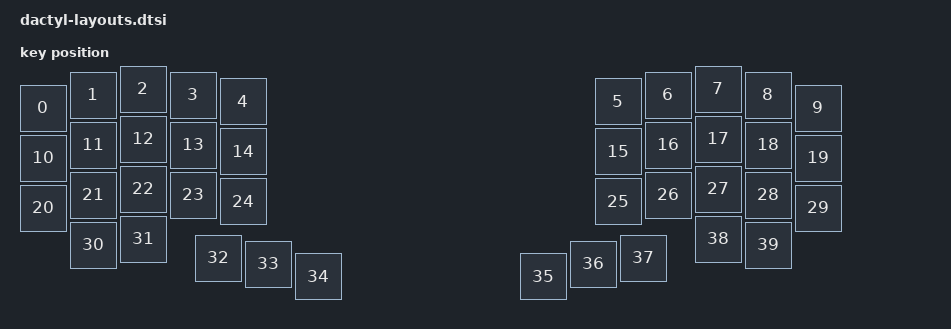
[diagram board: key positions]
#include <physical_layouts.dtsi>

/ {
    physical_layout: physical_layout_0 {
        compatible = "zmk,physical-layout";
        display-name = "dactyl";

        // kscan = <&kscan0>;
        // transform = <&matrix_transform0>;

        studio-config {
        compatible = "zmk,studio-config";
        };

        keys  //                     w   h    x    y     rot    rx    ry
            = <&key_physical_attrs 100 100    0   38       0     0     0>
            , <&key_physical_attrs 100 100  100   12       0     0     0>
            , <&key_physical_attrs 100 100  200    0       0     0     0>
            , <&key_physical_attrs 100 100  300   12       0     0     0>
            , <&key_physical_attrs 100 100  400   25       0     0     0>
            , <&key_physical_attrs 100 100 1150   25       0     0     0>
            , <&key_physical_attrs 100 100 1250   12       0     0     0>
            , <&key_physical_attrs 100 100 1350    0       0     0     0>
            , <&key_physical_attrs 100 100 1450   12       0     0     0>
            , <&key_physical_attrs 100 100 1550   38       0     0     0>
            , <&key_physical_attrs 100 100    0  138       0     0     0>
            , <&key_physical_attrs 100 100  100  112       0     0     0>
            , <&key_physical_attrs 100 100  200  100       0     0     0>
            , <&key_physical_attrs 100 100  300  112       0     0     0>
            , <&key_physical_attrs 100 100  400  125       0     0     0>
            , <&key_physical_attrs 100 100 1150  125       0     0     0>
            , <&key_physical_attrs 100 100 1250  112       0     0     0>
            , <&key_physical_attrs 100 100 1350  100       0     0     0>
            , <&key_physical_attrs 100 100 1450  112       0     0     0>
            , <&key_physical_attrs 100 100 1550  138       0     0     0>
            , <&key_physical_attrs 100 100    0  238       0     0     0>
            , <&key_physical_attrs 100 100  100  212       0     0     0>
            , <&key_physical_attrs 100 100  200  200       0     0     0>
            , <&key_physical_attrs 100 100  300  212       0     0     0>
            , <&key_physical_attrs 100 100  400  225       0     0     0>
            , <&key_physical_attrs 100 100 1150  225       0     0     0>
            , <&key_physical_attrs 100 100 1250  212       0     0     0>
            , <&key_physical_attrs 100 100 1350  200       0     0     0>
            , <&key_physical_attrs 100 100 1450  212       0     0     0>
            , <&key_physical_attrs 100 100 1550  238       0     0     0>
            , <&key_physical_attrs 100 100  100  312       0     0     0>
            , <&key_physical_attrs 100 100  200  300       0     0     0>
            , <&key_physical_attrs 100 100  350  338       0     0     0>
            , <&key_physical_attrs 100 100  450  350       0     0     0>
            , <&key_physical_attrs 100 100  550  375       0     0     0>
            , <&key_physical_attrs 100 100 1000  375       0     0     0>
            , <&key_physical_attrs 100 100 1100  350       0     0     0>
            , <&key_physical_attrs 100 100 1200  338       0     0     0>
            , <&key_physical_attrs 100 100 1350  300       0     0     0>
            , <&key_physical_attrs 100 100 1450  312       0     0     0>
            ;
    };
};
